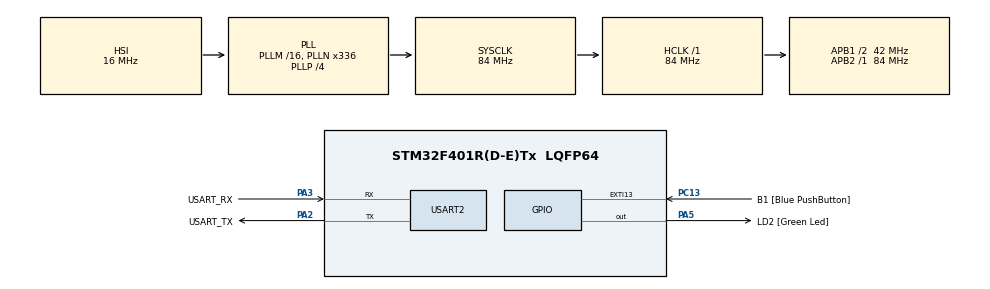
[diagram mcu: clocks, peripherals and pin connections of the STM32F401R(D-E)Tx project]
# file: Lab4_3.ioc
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FREERTOS.Mutexes01=myMutex01,Dynamic,NULL;myMutex02,Dynamic,NULL
FREERTOS.Tasks01=Task1,0,128,StartTask1,Default,NULL,Dynamic,NULL,NULL;Task2,-3,128,StartTask2,Default,NULL,Dynamic,NULL,NULL
Mcu.Family=STM32F4
Mcu.Name=STM32F401R(D-E)Tx
Mcu.Package=LQFP64
NVIC.PriorityGroup=NVIC_PRIORITYGROUP_4
NVIC.TIM1_UP_TIM10_IRQn=true\:15\:0\:false\:false\:true\:false\:false\:true
NVIC.TimeBase=TIM1_UP_TIM10_IRQn
NVIC.TimeBaseIP=TIM1
PA13.GPIO_Label=TMS
PA13.Mode=Serial_Wire
PA13.Signal=SYS_JTMS-SWDIO
PA14.GPIO_Label=TCK
PA14.Mode=Serial_Wire
PA14.Signal=SYS_JTCK-SWCLK
PA2.GPIO_Label=USART_TX
PA2.GPIO_Mode=GPIO_MODE_AF_PP
PA2.GPIO_PuPd=GPIO_NOPULL
PA2.GPIO_Speed=GPIO_SPEED_FREQ_LOW
PA2.Mode=Asynchronous
PA2.Signal=USART2_TX
PA3.GPIO_Label=USART_RX
PA3.GPIO_Mode=GPIO_MODE_AF_PP
PA3.GPIO_PuPd=GPIO_NOPULL
PA3.GPIO_Speed=GPIO_SPEED_FREQ_LOW
PA3.Mode=Asynchronous
PA3.Signal=USART2_RX
PA5.GPIO_Label=LD2 [Green Led]
PA5.GPIO_Mode=GPIO_MODE_OUTPUT_PP
PA5.GPIO_PuPd=GPIO_NOPULL
PA5.GPIO_Speed=GPIO_SPEED_FREQ_LOW
PA5.Signal=GPIO_Output
PB3.GPIO_Label=SWO
PB3.Signal=SYS_JTDO-SWO
PC13-ANTI_TAMP.GPIO_Label=B1 [Blue PushButton]
PC13-ANTI_TAMP.GPIO_ModeDefaultEXTI=GPIO_MODE_IT_FALLING
PC13-ANTI_TAMP.GPIO_PuPd=GPIO_NOPULL
PC13-ANTI_TAMP.Signal=GPXTI13
PC14-OSC32_IN.Mode=LSE-External-Oscillator
PC14-OSC32_IN.Signal=RCC_OSC32_IN
PC15-OSC32_OUT.Mode=LSE-External-Oscillator
PC15-OSC32_OUT.Signal=RCC_OSC32_OUT
PH0\ -\ OSC_IN.Mode=HSE-External-Clock-Source
PH0\ -\ OSC_IN.Signal=RCC_OSC_IN
PH1\ -\ OSC_OUT.Mode=HSE-External-Clock-Source
PH1\ -\ OSC_OUT.Signal=RCC_OSC_OUT
ProjectManager.HeapSize=0x200
ProjectManager.StackSize=0x400
ProjectManager.TargetToolchain=STM32CubeIDE
RCC.48MHZClocksFreq_Value=48000000
RCC.AHBFreq_Value=84000000
RCC.APB1CLKDivider=RCC_HCLK_DIV2
RCC.APB1Freq_Value=42000000
RCC.APB1TimFreq_Value=84000000
RCC.APB2Freq_Value=84000000
RCC.APB2TimFreq_Value=84000000
RCC.CortexFreq_Value=84000000
RCC.HCLKFreq_Value=84000000
RCC.HSE_VALUE=8000000
RCC.HSI_VALUE=16000000
RCC.PLLN=336
RCC.PLLP=RCC_PLLP_DIV4
RCC.PLLQ=7
RCC.SYSCLKFreq_VALUE=84000000
RCC.SYSCLKSource=RCC_SYSCLKSOURCE_PLLCLK
RCC.VCOOutputFreq_Value=336000000
USART2.VirtualMode=VM_ASYNC
VP_FREERTOS_VS_CMSIS_V1.Mode=CMSIS_V1
VP_SYS_VS_tim1.Mode=TIM1
board=NUCLEO-F401RE

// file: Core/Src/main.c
/* USER CODE BEGIN Header */
/**
 ******************************************************************************
 * @file           : main.c
 * @brief          : Main program body
 ******************************************************************************
 * @attention
 *
 * Copyright (c) 2022 STMicroelectronics.
 * All rights reserved.
 *
 * This software is licensed under terms that can be found in the LICENSE file
 * in the root directory of this software component.
 * If no LICENSE file comes with this software, it is provided AS-IS.
 *
 ******************************************************************************
 */
/* USER CODE END Header */
#include "main.h"
#include "cmsis_os.h"

UART_HandleTypeDef huart2;

osThreadId Task1Handle;
osThreadId Task2Handle;
osMutexId myMutex01Handle;

void SystemClock_Config(void);
static void MX_GPIO_Init(void);
static void MX_USART2_UART_Init(void);
void StartTask1(void const * argument);
void StartTask2(void const * argument);

int main(void)
{

  /* MCU Configuration--------------------------------------------------------*/

  /* Reset of all peripherals, Initializes the Flash interface and the Systick. */
  HAL_Init();

  /* Configure the system clock */
  SystemClock_Config();

  /* Initialize all configured peripherals */
  MX_GPIO_Init();
  MX_USART2_UART_Init();

  /* Create the mutex(es) */
  /* definition and creation of myMutex01 */
  osMutexDef(myMutex01);
  myMutex01Handle = osMutexCreate(osMutex(myMutex01));

  /* Create the thread(s) */
  /* definition and creation of Task1 */
  osThreadDef(Task1, StartTask1, osPriorityNormal, 0, 128);
  Task1Handle = osThreadCreate(osThread(Task1), NULL);

  /* definition and creation of Task2 */
  osThreadDef(Task2, StartTask2, osPriorityNormal, 0, 128);
  Task2Handle = osThreadCreate(osThread(Task2), NULL);

  /* Start scheduler */
  osKernelStart();

  /* We should never get here as control is now taken by the scheduler */
  /* Infinite loop */
	while (1) {

	}
}

void SystemClock_Config(void)
{
  RCC_OscInitTypeDef RCC_OscInitStruct = {0};
  RCC_ClkInitTypeDef RCC_ClkInitStruct = {0};

  /** Configure the main internal regulator output voltage
  */
  __HAL_RCC_PWR_CLK_ENABLE();
  __HAL_PWR_VOLTAGESCALING_CONFIG(PWR_REGULATOR_VOLTAGE_SCALE2);
  /** Initializes the RCC Oscillators according to the specified parameters
  * in the RCC_OscInitTypeDef structure.
  */
  RCC_OscInitStruct.OscillatorType = RCC_OSCILLATORTYPE_HSI;
  RCC_OscInitStruct.HSIState = RCC_HSI_ON;
  RCC_OscInitStruct.HSICalibrationValue = RCC_HSICALIBRATION_DEFAULT;
  RCC_OscInitStruct.PLL.PLLState = RCC_PLL_ON;
  RCC_OscInitStruct.PLL.PLLSource = RCC_PLLSOURCE_HSI;
  RCC_OscInitStruct.PLL.PLLM = 16;
  RCC_OscInitStruct.PLL.PLLN = 336;
  RCC_OscInitStruct.PLL.PLLP = RCC_PLLP_DIV4;
  RCC_OscInitStruct.PLL.PLLQ = 7;
  if (HAL_RCC_OscConfig(&RCC_OscInitStruct) != HAL_OK)
  {
    Error_Handler();
  }
  /** Initializes the CPU, AHB and APB buses clocks
  */
  RCC_ClkInitStruct.ClockType = RCC_CLOCKTYPE_HCLK|RCC_CLOCKTYPE_SYSCLK
                              |RCC_CLOCKTYPE_PCLK1|RCC_CLOCKTYPE_PCLK2;
  RCC_ClkInitStruct.SYSCLKSource = RCC_SYSCLKSOURCE_PLLCLK;
  RCC_ClkInitStruct.AHBCLKDivider = RCC_SYSCLK_DIV1;
  RCC_ClkInitStruct.APB1CLKDivider = RCC_HCLK_DIV2;
  RCC_ClkInitStruct.APB2CLKDivider = RCC_HCLK_DIV1;

  if (HAL_RCC_ClockConfig(&RCC_ClkInitStruct, FLASH_LATENCY_2) != HAL_OK)
  {
    Error_Handler();
  }
}

static void MX_USART2_UART_Init(void)
{

  huart2.Instance = USART2;
  huart2.Init.BaudRate = 115200;
  huart2.Init.WordLength = UART_WORDLENGTH_8B;
  huart2.Init.StopBits = UART_STOPBITS_1;
  huart2.Init.Parity = UART_PARITY_NONE;
  huart2.Init.Mode = UART_MODE_TX_RX;
  huart2.Init.HwFlowCtl = UART_HWCONTROL_NONE;
  huart2.Init.OverSampling = UART_OVERSAMPLING_16;
  if (HAL_UART_Init(&huart2) != HAL_OK)
  {
    Error_Handler();
  }

}

static void MX_GPIO_Init(void)
{
  GPIO_InitTypeDef GPIO_InitStruct = {0};

  /* GPIO Ports Clock Enable */
  __HAL_RCC_GPIOC_CLK_ENABLE();
  __HAL_RCC_GPIOH_CLK_ENABLE();
  __HAL_RCC_GPIOA_CLK_ENABLE();
  __HAL_RCC_GPIOB_CLK_ENABLE();

  /*Configure GPIO pin Output Level */
  HAL_GPIO_WritePin(LD2_GPIO_Port, LD2_Pin, GPIO_PIN_RESET);

  /*Configure GPIO pin : B1_Pin */
  GPIO_InitStruct.Pin = B1_Pin;
  GPIO_InitStruct.Mode = GPIO_MODE_IT_FALLING;
  GPIO_InitStruct.Pull = GPIO_NOPULL;
  HAL_GPIO_Init(B1_GPIO_Port, &GPIO_InitStruct);

  /*Configure GPIO pin : LD2_Pin */
  GPIO_InitStruct.Pin = LD2_Pin;
  GPIO_InitStruct.Mode = GPIO_MODE_OUTPUT_PP;
  GPIO_InitStruct.Pull = GPIO_NOPULL;
  GPIO_InitStruct.Speed = GPIO_SPEED_FREQ_LOW;
  HAL_GPIO_Init(LD2_GPIO_Port, &GPIO_InitStruct);

}

void StartTask1(void const * argument)
{
  /* USER CODE BEGIN 5 */
	int threadID = 0; // threadID is 0 for one thread and 1 for another
	int idx = 0;
	char buffer[32];
	while (1) {
		sprintf(buffer, "TID: %d %d\r\n", threadID, idx);
		idx++;
		osMutexWait(myMutex01Handle, osWaitForever);
		HAL_UART_Transmit(&huart2, buffer, strlen(buffer), 1000);
		osMutexRelease(myMutex01Handle);
		osDelay(10);
	}
	osThreadTerminate(NULL);
  /* USER CODE END 5 */
}

void StartTask2(void const * argument)
{
  /* USER CODE BEGIN StartTask2 */
	int threadID = 1; // threadID is 0 for one thread and 1 for another
	int idx = 0;
	char buffer[32];
	while (1) {
		sprintf(buffer, "TID: %d %d\r\n", threadID, idx);
		idx++;
		osMutexWait(myMutex01Handle, osWaitForever);
		HAL_UART_Transmit(&huart2, buffer, strlen(buffer), 1000);
		osMutexRelease(myMutex01Handle);
		osDelay(10);
	}
	osThreadTerminate(NULL);
  /* USER CODE END StartTask2 */
}

void HAL_TIM_PeriodElapsedCallback(TIM_HandleTypeDef *htim)
{
  if (htim->Instance == TIM1) {
    HAL_IncTick();
  }
}

void Error_Handler(void)
{
	__disable_irq();
	while (1) {
	}
}
